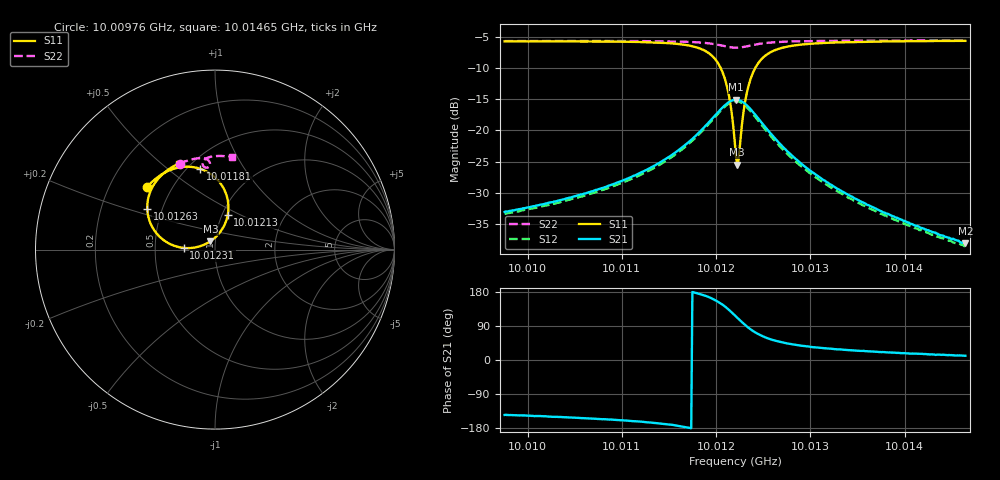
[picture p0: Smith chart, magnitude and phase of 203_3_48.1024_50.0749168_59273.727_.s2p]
#  HZ  S  RI  R  50.00
! Rohde & Schwarz Vector Network Analyzer
! Rohde-Schwarz,ZNB20-2Port,1311601062101988,3.16
! Created: UTC 12/23/2023, 3:55:00 AM
! freq[Hz]  re:S11  im:S11  re:S21  im:S21  re:S12  im:S12  re:S22  im:S22
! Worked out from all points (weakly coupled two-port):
!   401 points, 10.00976 GHz to 10.01465 GHz, reference 50 ohm
!   highest |S21| = -15.11 dB at 10.01221 GHz (marker M1); lowest = -38.1 dB at 10.01465 GHz (marker M2)
!   lowest |S11| = -25.5 dB at 10.01223 GHz (marker M3), VSWR 1.11, Z = 47.3 + j4.41 ohm
!   |S11| at or under -10 dB: 10.01205 GHz to 10.01242 GHz (368.4 kHz wide, 0.00368 % of centre)
!   |S22| runs from -6.8 to -5.6 dB; largest |S21 - S12| = 0.0086
!   S11 on the Smith chart (normalised r, x): 10.00976 GHz: 0.36, +0.35; 10.01181 GHz: 0.58, +0.66; 10.01213 GHz: 1.06, +0.43; 10.01231 GHz: 0.70, +0.01; 10.01263 GHz: 0.41, +0.23; 10.01465 GHz: 0.43, +0.57
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1.0009756e10  -0.3789 0.3495  -0.0182 -0.0128  -0.0169 -0.0133  -0.1965 0.4796
1.0010575e10  -0.3236 0.4008  -0.0274 -0.0138  -0.0257 -0.0145  -0.1448 0.4983
1.0011394e10  -0.22 0.4533  -0.0532 -0.0122  -0.0506 -0.0144  -0.0857 0.5096
1.001181e10  -0.0814 0.45  -0.094 0.00777  -0.0913 0.00227  -0.0474 0.5038
1.0012005e10  0.0387 0.3571  -0.1237 0.0554  -0.1234 0.0474  -0.0293 0.4859
1.0012078e10  0.0721 0.2694  -0.1257 0.0908  -0.1267 0.0827  -0.0279 0.4739
1.0012127e10  0.071 0.1927  -0.1162 0.1191  -0.1189 0.111  -0.031 0.4652
1.0012164e10  0.0501 0.1316  -0.1016 0.1396  -0.1049 0.1321  -0.0363 0.4598
1.0012201e10  0.0104 0.0763  -0.0806 0.156  -0.0849 0.1489  -0.043 0.4567
1.0012213e10  -0.00696 0.0603  -0.0725 0.16  -0.0771 0.1531  -0.0457 0.4562
1.0012225e10  -0.0256 0.0464  -0.0642 0.1632  -0.0688 0.1565  -0.0482 0.456
1.001225e10  -0.0666 0.0248  -0.0471 0.167  -0.0514 0.1608  -0.0532 0.4567
1.0012286e10  -0.1313 0.00916  -0.0214 0.1665  -0.0254 0.1607  -0.0599 0.4604
1.0012311e10  -0.1738 0.00925  -0.00515 0.1624  -0.00975 0.1567  -0.0635 0.4638
1.001236e10  -0.2473 0.0295  0.0208 0.1481  0.0148 0.1431  -0.0677 0.4721
1.0012421e10  -0.3118 0.0752  0.0406 0.1256  0.035 0.1217  -0.0681 0.4825
1.0012506e10  -0.3589 0.145  0.0524 0.0963  0.0468 0.0938  -0.0635 0.4942
1.0012629e10  -0.3774 0.2254  0.0537 0.0666  0.0488 0.0653  -0.0528 0.5052
1.001302e10  -0.3457 0.3536  0.0384 0.0259  0.0351 0.0265  -0.0185 0.5183
1.0013399e10  -0.3061 0.406  0.0273 0.0135  0.0253 0.0143  0.0107 0.5215
1.0013839e10  -0.2666 0.4409  0.0199 0.00725  0.0184 0.00784  0.0419 0.5212
1.0014645e10  -0.2033 0.4792  0.0122 0.00242  0.0115 0.00284  0.0957 0.5154
